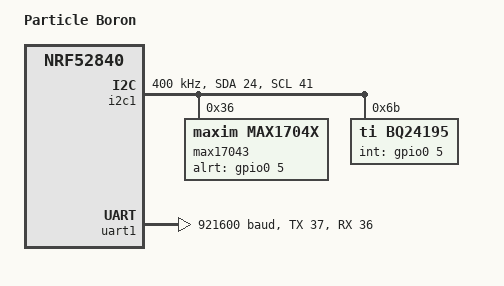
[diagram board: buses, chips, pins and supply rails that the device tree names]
/*
 * Copyright (c) 2018 Peter Bigot Consulting, LLC
 *
 * SPDX-License-Identifier: Apache-2.0
 */

/dts-v1/;
#include <nordic/nrf52840_qiaa.dtsi>
#include "mesh_feather.dtsi"

/ {
	model = "Particle Boron";
	compatible = "particle,boron", "particle,feather",
		"nordic,nrf52840-qiaa", "nordic,nrf52840";
};

&i2c1 { /* power monitoring */
	status = "ok";
	clock-frequency = <I2C_BITRATE_FAST>;
	sda-pin = <24>;
	scl-pin = <41>;
	max17043: max17043@36 {
		compatible = "maxim,max1704x";
		reg = <0x36>;
		alrt-gpios = <&gpio0 5 0>;
	};
	bq24195: bq24195@6b {
		compatible = "ti,bq24195";
		reg = <0x6b>;
		int-gpios = <&gpio0 5 0>;
	};
};

&uart1 { /* u-blox SARA-U2 or SARA-R4 */
	compatible = "nordic,nrf-uarte";
	current-speed = <921600>;
	status = "ok";
	tx-pin = <37>;
	rx-pin = <36>;
	rts-pin = <39>;
	cts-pin = <38>;
};
